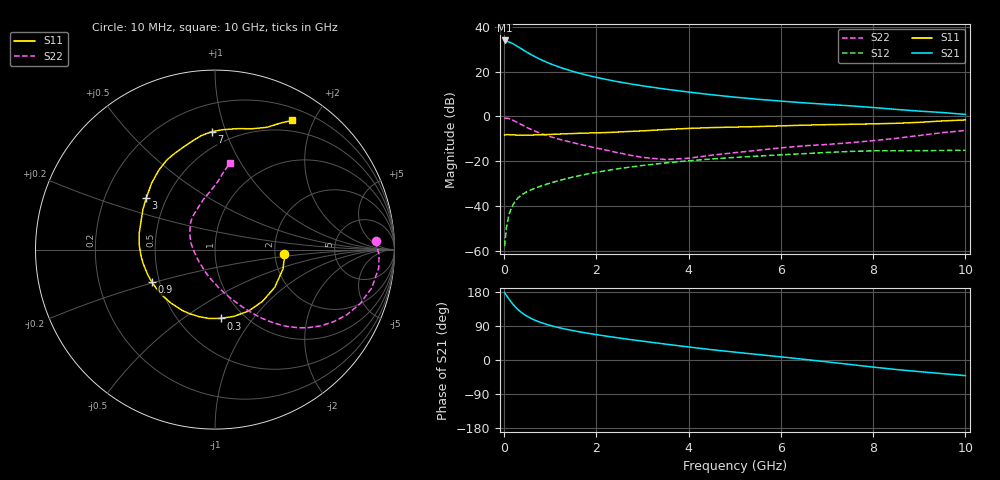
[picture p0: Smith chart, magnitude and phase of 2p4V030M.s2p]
! (c) 2009  Infineon Technologies AG, Munich
! Infineon Technologies  Discrete & RF Semiconductors
! BFP420
! VCE =  4.0 V,  IC =  30 mA
! Common Emitter S-Parameters:  Nov 2009
# GHz  S  MA  R  50
!  f  S11  S21  S12  S22
! GHz  MAG  ANG  MAG  ANG  MAG  ANG  MAG  ANG
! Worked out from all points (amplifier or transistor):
!   46 points, 10 MHz to 10 GHz, reference 50 ohm
!   highest |S21| = 33.8 dB at 10 MHz (marker M1)
!   |S21| within 3 dB of that: start of sweep to 317.2 MHz
!   unconditionally stable (mu >= 1): start of sweep to 20.87 MHz; 1.582 GHz to end of sweep
!   at 300 MHz: K = 0.44, MSG = 33.7 dB, |S12| = -36.2 dB
!   at 1.7 GHz: K = 1.02, MAG = 21.6 dB, |S12| = -26.0 dB
!   at 10 GHz: K = 1.06, MAG = 6.5 dB, |S12| = -15.0 dB
!   lowest NFmin = 1.51 dB at 900 MHz
!   S11 on the Smith chart (normalised r, x): 10 MHz: 2.26, -0.12; 300 MHz: 0.79, -0.71; 900 MHz: 0.45, -0.19; 3 GHz: 0.39, +0.29; 7 GHz: 0.39, +0.90; 10 GHz: 0.35, +1.71
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0.01  0.3878 -3.3  49.2 178.7  0.0013 65.9  0.8956 3.0
0.02  0.3892 -5.7  47.9 175.7  0.0017 66.2  0.9138 -1.6
0.05  0.3941 -15.9  47.23 170.3  0.0034 72.3  0.9183 -6.3
0.1  0.3937 -32.4  45.89 161.6  0.0062 73.3  0.8991 -13.7
0.15  0.3914 -47.7  43.67 153.3  0.0089 70.6  0.8634 -20.4
0.2  0.3901 -61.5  41.13 145.9  0.0113 67.9  0.8194 -26.3
0.25  0.3865 -74.1  38.31 139.1  0.0135 65.8  0.7725 -31.4
0.3  0.3847 -85.2  35.73 133.1  0.0154 63.7  0.7251 -35.9
0.4  0.3842 -103.5  30.82 123.2  0.0186 60.9  0.6386 -43.0
0.45  0.384 -111.2  28.66 119.0  0.02 60.0  0.6003 -45.8
0.6  0.3862 -129.3  23.33 108.7  0.0237 58.5  0.5066 -52.5
0.7  0.3893 -138.7  20.6 103.4  0.0261 58.2  0.4584 -56.0
0.9  0.3953 -152.9  16.51 94.7  0.0307 58.0  0.3858 -61.6
1.2  0.4068 -168.3  12.54 85.0  0.0377 57.9  0.3109 -68.9
1.7  0.4245 174.2  8.815 72.9  0.0499 56.3  0.2326 -80.4
2.2  0.4387 160.7  6.717 63.2  0.0622 53.2  0.1796 -93.0
3  0.4785 143.2  4.81 49.8  0.0813 46.7  0.1229 -123.5
3.5  0.5119 133.6  4.062 41.9  0.0925 42.1  0.1103 -150.7
5.5  0.597 107.3  2.417 14.5  0.1314 23.5  0.1772 142.1
7  0.6578 91.4  1.863 -4.9  0.1582 9.4  0.2386 116.4
8.5  0.7049 72.8  1.438 -25.1  0.1731 -7.6  0.3265 94.5
10  0.8378 59.2  1.112 -41.3  0.1772 -19.0  0.4888 80.2
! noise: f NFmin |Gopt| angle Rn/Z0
0.9  1.51  0.26  -155  0.13
1.8  1.78  0.33  -142  0.14
2.4  1.96  0.3  -136  0.18
3  1.98  0.38  -127  0.2
4  2.11  0.47  -111  0.31
5  2.57  0.53  -94  0.51
6  3  0.57  -82  0.74
